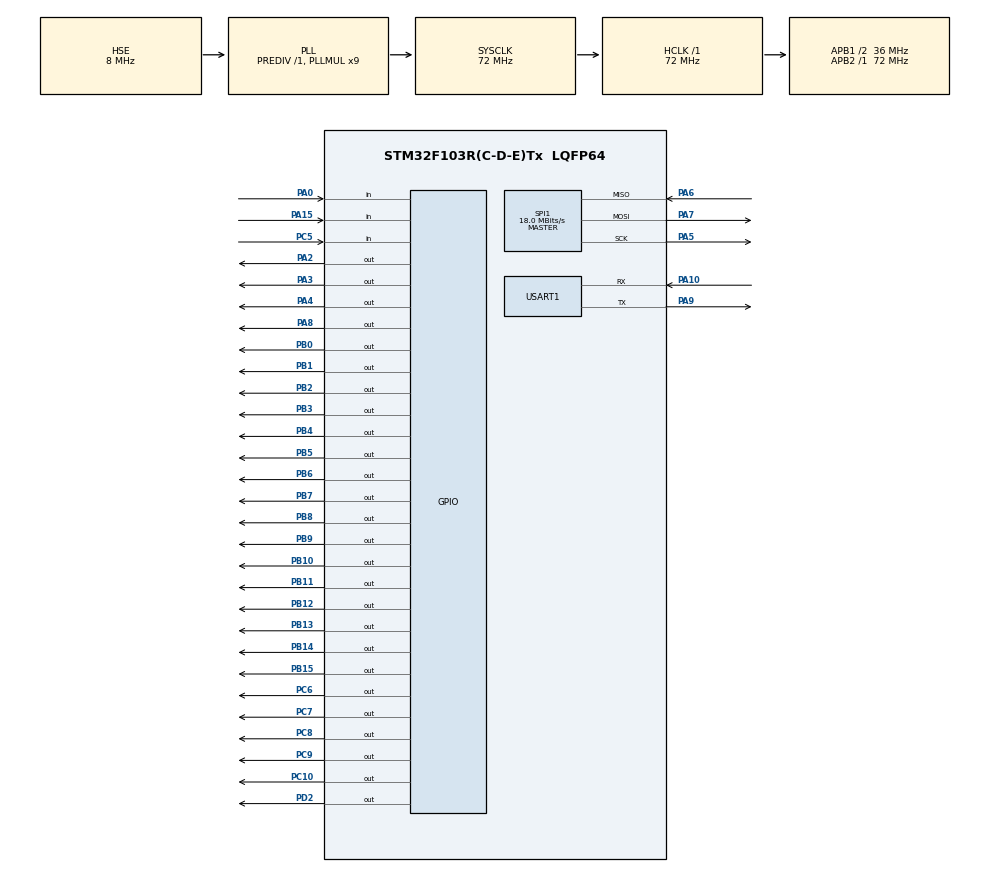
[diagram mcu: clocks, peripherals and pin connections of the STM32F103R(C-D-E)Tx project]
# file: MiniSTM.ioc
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Mcu.Family=STM32F1
Mcu.Name=STM32F103R(C-D-E)Tx
Mcu.Package=LQFP64
NVIC.PriorityGroup=NVIC_PRIORITYGROUP_4
PA0-WKUP.GPIO_PuPd=GPIO_PULLDOWN
PA0-WKUP.Signal=GPIO_Input
PA10.Mode=Asynchronous
PA10.Signal=USART1_RX
PA13.Mode=Serial_Wire
PA13.Signal=SYS_JTMS-SWDIO
PA14.Mode=Serial_Wire
PA14.Signal=SYS_JTCK-SWCLK
PA15.GPIO_PuPd=GPIO_PULLUP
PA15.Signal=GPIO_Input
PA2.Signal=GPIO_Output
PA3.Signal=GPIO_Output
PA4.Signal=GPIO_Output
PA5.Mode=Full_Duplex_Master
PA5.Signal=SPI1_SCK
PA6.Mode=Full_Duplex_Master
PA6.Signal=SPI1_MISO
PA7.Mode=Full_Duplex_Master
PA7.Signal=SPI1_MOSI
PA8.GPIO_PuPd=GPIO_PULLUP
PA8.GPIO_Speed=GPIO_SPEED_FREQ_HIGH
PA8.Signal=GPIO_Output
PA9.Mode=Asynchronous
PA9.Signal=USART1_TX
PB0.GPIO_PuPd=GPIO_PULLUP
PB0.GPIO_Speed=GPIO_SPEED_FREQ_HIGH
PB0.Signal=GPIO_Output
PB1.GPIO_PuPd=GPIO_PULLUP
PB1.GPIO_Speed=GPIO_SPEED_FREQ_HIGH
PB1.Signal=GPIO_Output
PB10.GPIO_PuPd=GPIO_PULLUP
PB10.GPIO_Speed=GPIO_SPEED_FREQ_HIGH
PB10.Signal=GPIO_Output
PB11.GPIO_PuPd=GPIO_PULLUP
PB11.GPIO_Speed=GPIO_SPEED_FREQ_HIGH
PB11.Signal=GPIO_Output
PB12.GPIO_PuPd=GPIO_PULLUP
PB12.GPIO_Speed=GPIO_SPEED_FREQ_HIGH
PB12.Signal=GPIO_Output
PB13.GPIO_PuPd=GPIO_PULLUP
PB13.GPIO_Speed=GPIO_SPEED_FREQ_HIGH
PB13.Signal=GPIO_Output
PB14.GPIO_PuPd=GPIO_PULLUP
PB14.GPIO_Speed=GPIO_SPEED_FREQ_HIGH
PB14.Signal=GPIO_Output
PB15.GPIO_PuPd=GPIO_PULLUP
PB15.GPIO_Speed=GPIO_SPEED_FREQ_HIGH
PB15.Signal=GPIO_Output
PB2.GPIO_PuPd=GPIO_PULLUP
PB2.GPIO_Speed=GPIO_SPEED_FREQ_HIGH
PB2.Signal=GPIO_Output
PB3.GPIO_PuPd=GPIO_PULLUP
PB3.GPIO_Speed=GPIO_SPEED_FREQ_HIGH
PB3.Signal=GPIO_Output
PB4.GPIO_PuPd=GPIO_PULLUP
PB4.GPIO_Speed=GPIO_SPEED_FREQ_HIGH
PB4.Signal=GPIO_Output
PB5.GPIO_PuPd=GPIO_PULLUP
PB5.GPIO_Speed=GPIO_SPEED_FREQ_HIGH
PB5.Signal=GPIO_Output
PB6.GPIO_PuPd=GPIO_PULLUP
PB6.GPIO_Speed=GPIO_SPEED_FREQ_HIGH
PB6.Signal=GPIO_Output
PB7.GPIO_PuPd=GPIO_PULLUP
PB7.GPIO_Speed=GPIO_SPEED_FREQ_HIGH
PB7.Signal=GPIO_Output
PB8.GPIO_PuPd=GPIO_PULLUP
PB8.GPIO_Speed=GPIO_SPEED_FREQ_HIGH
PB8.PinState=GPIO_PIN_SET
PB8.Signal=GPIO_Output
PB9.GPIO_PuPd=GPIO_PULLUP
PB9.GPIO_Speed=GPIO_SPEED_FREQ_HIGH
PB9.Signal=GPIO_Output
PC10.GPIO_PuPd=GPIO_PULLUP
PC10.GPIO_Speed=GPIO_SPEED_FREQ_HIGH
PC10.Signal=GPIO_Output
PC14-OSC32_IN.Mode=LSE-External-Oscillator
PC14-OSC32_IN.Signal=RCC_OSC32_IN
PC15-OSC32_OUT.Mode=LSE-External-Oscillator
PC15-OSC32_OUT.Signal=RCC_OSC32_OUT
PC5.GPIO_PuPd=GPIO_PULLUP
PC5.Signal=GPIO_Input
PC6.GPIO_PuPd=GPIO_PULLUP
PC6.GPIO_Speed=GPIO_SPEED_FREQ_HIGH
PC6.Signal=GPIO_Output
PC7.GPIO_PuPd=GPIO_PULLUP
PC7.GPIO_Speed=GPIO_SPEED_FREQ_HIGH
PC7.Signal=GPIO_Output
PC8.GPIO_PuPd=GPIO_PULLUP
PC8.GPIO_Speed=GPIO_SPEED_FREQ_HIGH
PC8.Signal=GPIO_Output
PC9.GPIO_PuPd=GPIO_PULLUP
PC9.GPIO_Speed=GPIO_SPEED_FREQ_HIGH
PC9.Signal=GPIO_Output
PD0-OSC_IN.Mode=HSE-External-Oscillator
PD0-OSC_IN.Signal=RCC_OSC_IN
PD1-OSC_OUT.Mode=HSE-External-Oscillator
PD1-OSC_OUT.Signal=RCC_OSC_OUT
PD2.GPIO_PuPd=GPIO_PULLUP
PD2.GPIO_Speed=GPIO_SPEED_FREQ_HIGH
PD2.PinState=GPIO_PIN_SET
PD2.Signal=GPIO_Output
ProjectManager.HeapSize=0x200
ProjectManager.StackSize=0x400
ProjectManager.TargetToolchain=MDK-ARM V5.32
RCC.ADCPresc=RCC_ADCPCLK2_DIV6
RCC.AHBFreq_Value=72000000
RCC.APB1CLKDivider=RCC_HCLK_DIV2
RCC.APB1Freq_Value=36000000
RCC.APB1TimFreq_Value=72000000
RCC.APB2Freq_Value=72000000
RCC.APB2TimFreq_Value=72000000
RCC.HCLKFreq_Value=72000000
RCC.PLLMUL=RCC_PLL_MUL9
RCC.PLLSourceVirtual=RCC_PLLSOURCE_HSE
RCC.SYSCLKFreq_VALUE=72000000
RCC.SYSCLKSource=RCC_SYSCLKSOURCE_PLLCLK
RCC.USBFreq_Value=72000000
SPI1.BaudRatePrescaler=SPI_BAUDRATEPRESCALER_4
SPI1.CLKPhase=SPI_PHASE_2EDGE
SPI1.CLKPolarity=SPI_POLARITY_HIGH
SPI1.CalculateBaudRate=18.0 MBits/s
SPI1.Direction=SPI_DIRECTION_2LINES
SPI1.Mode=SPI_MODE_MASTER
SPI1.VirtualType=VM_MASTER
TIM4.AutoReloadPreload=TIM_AUTORELOAD_PRELOAD_DISABLE
TIM4.Channel-Output\ Compare1\ No\ Output=TIM_CHANNEL_1
TIM4.Period=1000
TIM4.Prescaler=8399
USART1.VirtualMode=VM_ASYNC
VP_TIM4_VS_ClockSourceITR.Mode=TriggerSource_ITR0
board=custom

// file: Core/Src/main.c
/* USER CODE BEGIN Header */
/**
 ******************************************************************************
 * @file           : main.c
 * @brief          : Main program body
 ******************************************************************************
 * @attention
 *
 * Copyright (c) 2022 STMicroelectronics.
 * All rights reserved.
 *
 * This software is licensed under terms that can be found in the LICENSE file
 * in the root directory of this software component.
 * If no LICENSE file comes with this software, it is provided AS-IS.
 *
 ******************************************************************************
 */
/* USER CODE END Header */
#include "main.h"
#include "spi.h"
#include "tim.h"
#include "usart.h"
#include "gpio.h"

/* USER CODE BEGIN Includes */
#include "led.h"
#include "key.h"
#include "lcd.h"
#include "uart.h"
#include "usmart.h"
#include "w25qxx.h"
#include "malloc.h"
#include "mmc_sd.h"
/* USER CODE END Includes */

void SystemClock_Config(void);

/* USER CODE BEGIN 0 */
void SD_Read_Sectorx(uint32_t sec)
{
	uint8_t *buf;
	uint16_t i;
	buf = mymalloc(512);
	if (SD_ReadDisk(buf, sec, 1) == 0)
	{
		LCD_ShowString(60, 190, 200, 16, 16, "USART1 Sending Data...");
		printf("SECTOR 0 DATA:\r\n");
		for (i = 0; i < 512; i++)
			printf("%x ", buf[i]);
		printf("\r\nDATA ENDED\r\n");
		LCD_ShowString(60, 190, 200, 16, 16, "USART1 Send Data Over!");
	}
	myfree(buf);
}
/* USER CODE END 0 */

int main(void)
{
	/* USER CODE BEGIN 1 */
	uint8_t key;
	uint32_t sd_size;
	uint8_t t = 0;
	/* USER CODE END 1 */

	/* MCU Configuration--------------------------------------------------------*/

	/* Reset of all peripherals, Initializes the Flash interface and the Systick. */
	HAL_Init();

	/* Configure the system clock */
	SystemClock_Config();

	/* Initialize all configured peripherals */
	MX_GPIO_Init();
	MX_USART1_UART_Init();
	MX_TIM4_Init();
	MX_SPI1_Init();
	/* USER CODE BEGIN 2 */
	LCD_Init();
	W25QXX_Init();
	mem_init();

	HAL_NVIC_EnableIRQ(TIM4_IRQn);
	HAL_NVIC_SetPriority(TIM4_IRQn, 9, 0);
	HAL_TIM_Base_Start_IT(&htim4);

	HAL_NVIC_EnableIRQ(USART1_IRQn);
	HAL_NVIC_SetPriority(USART1_IRQn, 9, 0);
	HAL_UART_Receive_IT(&huart1, (uint8_t *)aRxBuffer, RXBUFFERSIZE);

	POINT_COLOR = RED;
	LCD_ShowString(60, 50, 200, 16, 16, "Mini STM32");
	LCD_ShowString(60, 70, 200, 16, 16, "SD CARD TEST");
	LCD_ShowString(60, 90, 200, 16, 16, "ATOM@ALIENTEK");
	LCD_ShowString(60, 110, 200, 16, 16, "2019/11/16");
	LCD_ShowString(60, 130, 200, 16, 16, "KEY0:Read Sector 0");
	while (SD_Init())
	{
		LCD_ShowString(60, 150, 200, 16, 16, "SD Card Error!");
		HAL_Delay(500);
		LCD_ShowString(60, 150, 200, 16, 16, "Please Check! ");
		HAL_Delay(500);
		LED0 = !LED0;
	}
	POINT_COLOR = BLUE;
	LCD_ShowString(60, 150, 200, 16, 16, "SD Card OK    ");
	LCD_ShowString(60, 170, 200, 16, 16, "SD Card Size:     MB");
	sd_size = SD_GetSectorCount();
	LCD_ShowNum(164, 170, sd_size >> 11, 5, 16);

	/* USER CODE END 2 */

	/* Infinite loop */
	/* USER CODE BEGIN WHILE */
	while (1)
	{
		key = KEY_Scan(0);
		if (key == KEY0_PRES)
			SD_Read_Sectorx(0);
		t++;
		HAL_Delay(10);
		if (t == 20)
		{
			LED0 = !LED0;
			t = 0;
		}
		/* USER CODE END WHILE */

	}
}

void SystemClock_Config(void)
{
	RCC_OscInitTypeDef RCC_OscInitStruct = {0};
	RCC_ClkInitTypeDef RCC_ClkInitStruct = {0};

	/** Initializes the RCC Oscillators according to the specified parameters
	 * in the RCC_OscInitTypeDef structure.
	 */
	RCC_OscInitStruct.OscillatorType = RCC_OSCILLATORTYPE_HSE;
	RCC_OscInitStruct.HSEState = RCC_HSE_ON;
	RCC_OscInitStruct.HSEPredivValue = RCC_HSE_PREDIV_DIV1;
	RCC_OscInitStruct.HSIState = RCC_HSI_ON;
	RCC_OscInitStruct.PLL.PLLState = RCC_PLL_ON;
	RCC_OscInitStruct.PLL.PLLSource = RCC_PLLSOURCE_HSE;
	RCC_OscInitStruct.PLL.PLLMUL = RCC_PLL_MUL9;
	if (HAL_RCC_OscConfig(&RCC_OscInitStruct) != HAL_OK)
	{
		Error_Handler();
	}

	/** Initializes the CPU, AHB and APB buses clocks
	 */
	RCC_ClkInitStruct.ClockType = RCC_CLOCKTYPE_HCLK | RCC_CLOCKTYPE_SYSCLK | RCC_CLOCKTYPE_PCLK1 | RCC_CLOCKTYPE_PCLK2;
	RCC_ClkInitStruct.SYSCLKSource = RCC_SYSCLKSOURCE_PLLCLK;
	RCC_ClkInitStruct.AHBCLKDivider = RCC_SYSCLK_DIV1;
	RCC_ClkInitStruct.APB1CLKDivider = RCC_HCLK_DIV2;
	RCC_ClkInitStruct.APB2CLKDivider = RCC_HCLK_DIV1;

	if (HAL_RCC_ClockConfig(&RCC_ClkInitStruct, FLASH_LATENCY_2) != HAL_OK)
	{
		Error_Handler();
	}
}

void Error_Handler(void)
{
	__disable_irq();
	while (1)
	{
	}
}
